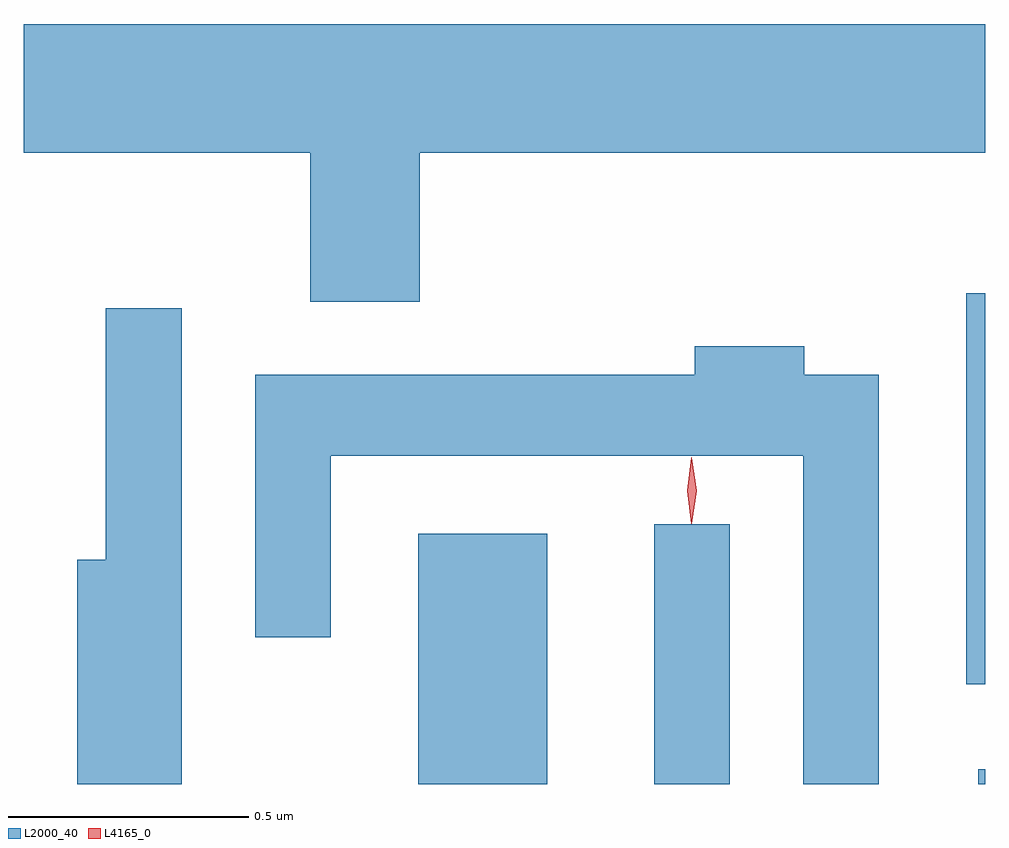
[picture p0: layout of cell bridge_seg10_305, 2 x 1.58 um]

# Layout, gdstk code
import gdstk
lib = gdstk.Library(unit=1e-6, precision=1e-09)
def R(c, l, rs):  # rectangles x0, y0, x1, y1
    for r in rs: c.add(gdstk.rectangle(r[:2], r[2:], *l))
def P(c, l, *ps):  # polygons
    for p in ps: c.add(gdstk.Polygon(p, *l))
L2000_40 = (2000, 40)
L4165_0 = (4165, 0)

bridge_seg10_305 = lib.new_cell('bridge_seg10_305')
R(bridge_seg10_305, L2000_40, [(1436.636,2216.943,1436.904,2217.464), (1437.126,2216.943,1437.284,2217.483), (1437.801,2216.943,1437.815,2216.974), (1437.776,2217.151,1437.815,2217.964)])
P(bridge_seg10_305, L2000_40, [(1436.639,2218.256),(1437.815,2218.256),(1437.815,2218.524),(1435.815,2218.524),(1435.815,2218.256),(1436.411,2218.256),(1436.411,2217.946),(1436.639,2217.946)],
  [(1436.144,2217.933),(1435.986,2217.933),(1435.986,2217.409),(1435.926,2217.409),(1435.926,2216.943),(1436.144,2216.943)],
  [(1437.594,2217.794),(1437.439,2217.794),(1437.439,2217.854),(1437.211,2217.854),(1437.211,2217.794),(1436.296,2217.794),(1436.296,2217.248),(1436.454,2217.248),(1436.454,2217.626),(1437.436,2217.626),(1437.436,2216.943),(1437.594,2216.943)])
P(bridge_seg10_305, L4165_0, [(1437.204,2217.484),(1437.195,2217.553),(1437.204,2217.622),(1437.205,2217.623),(1437.205,2217.622),(1437.215,2217.553),(1437.205,2217.484),(1437.205,2217.484)])

lib.write_gds('bridge_seg10_305.gds')
